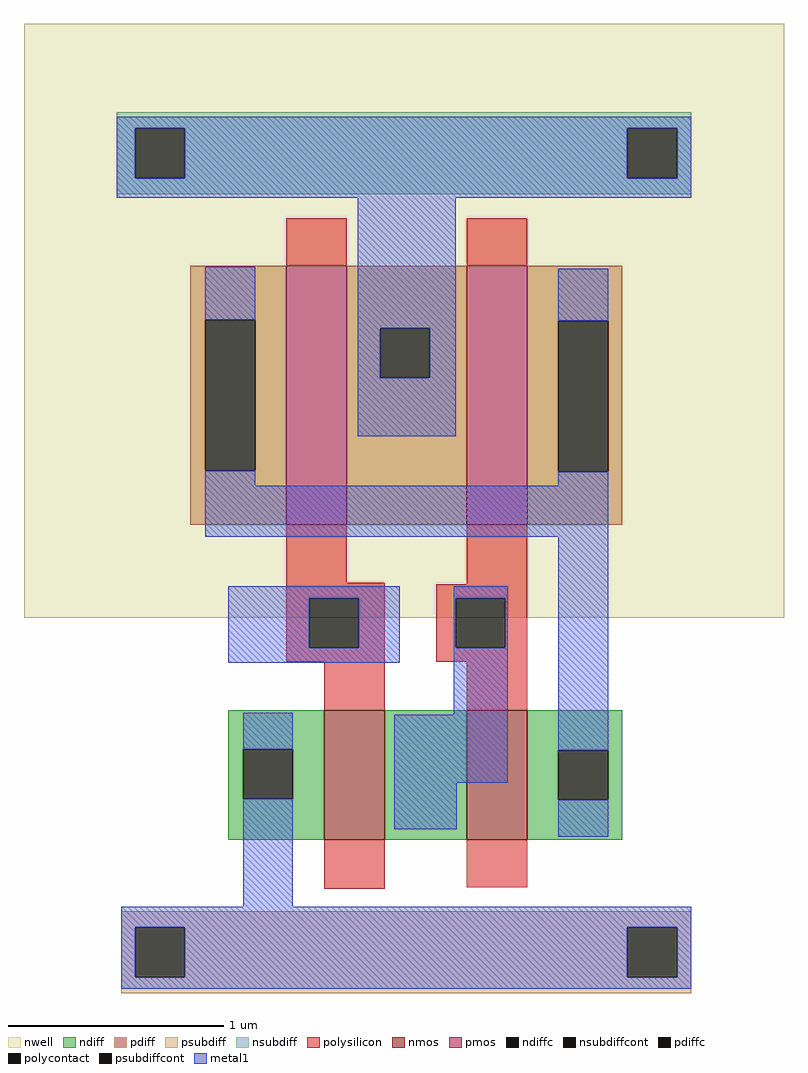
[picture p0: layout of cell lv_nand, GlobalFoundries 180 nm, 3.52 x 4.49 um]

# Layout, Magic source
magic
tech gf180mcuD
magscale 1 10
<< nwell >>
rect 16870 51136 17574 51686
<< nmos >>
rect 17148 50930 17204 51050
rect 17280 50930 17336 51050
<< pmos >>
rect 17113 51222 17169 51462
rect 17280 51222 17336 51462
<< ndiff >>
rect 17059 51014 17148 51050
rect 17059 50968 17073 51014
rect 17119 50968 17148 51014
rect 17059 50930 17148 50968
rect 17204 50930 17280 51050
rect 17336 51013 17424 51050
rect 17336 50967 17365 51013
rect 17411 50967 17424 51013
rect 17336 50930 17424 50967
<< pdiff >>
rect 17024 51412 17113 51462
rect 17024 51272 17038 51412
rect 17084 51272 17113 51412
rect 17024 51222 17113 51272
rect 17169 51404 17280 51462
rect 17169 51358 17200 51404
rect 17246 51358 17280 51404
rect 17169 51222 17280 51358
rect 17336 51411 17424 51462
rect 17336 51271 17365 51411
rect 17411 51271 17424 51411
rect 17336 51222 17424 51271
<< ndiffc >>
rect 17073 50968 17119 51014
rect 17365 50967 17411 51013
<< pdiffc >>
rect 17038 51272 17084 51412
rect 17200 51358 17246 51404
rect 17365 51271 17411 51411
<< psubdiff >>
rect 16960 50849 17488 50864
rect 16960 50803 16973 50849
rect 17019 50803 17429 50849
rect 17475 50803 17488 50849
rect 16960 50788 17488 50803
<< nsubdiff >>
rect 16956 51589 17488 51604
rect 16956 51543 16973 51589
rect 17019 51543 17429 51589
rect 17475 51543 17488 51589
rect 16956 51528 17488 51543
<< psubdiffcont >>
rect 16973 50803 17019 50849
rect 17429 50803 17475 50849
<< nsubdiffcont >>
rect 16973 51543 17019 51589
rect 17429 51543 17475 51589
<< polysilicon >>
rect 17113 51462 17169 51506
rect 17280 51462 17336 51506
rect 17113 51168 17169 51222
rect 17113 51154 17204 51168
rect 17280 51167 17336 51222
rect 17113 51108 17134 51154
rect 17180 51108 17204 51154
rect 17113 51095 17204 51108
rect 17252 51154 17336 51167
rect 17252 51108 17270 51154
rect 17316 51108 17336 51154
rect 17252 51095 17336 51108
rect 17148 51050 17204 51095
rect 17280 51050 17336 51095
rect 17148 50885 17204 50930
rect 17280 50886 17336 50930
<< polycontact >>
rect 17134 51108 17180 51154
rect 17270 51108 17316 51154
<< metal1 >>
rect 16956 51589 17488 51600
rect 16956 51543 16973 51589
rect 17019 51543 17429 51589
rect 17475 51543 17488 51589
rect 16956 51525 17488 51543
rect 17038 51412 17084 51461
rect 17179 51404 17270 51525
rect 17179 51358 17200 51404
rect 17246 51358 17270 51404
rect 17179 51304 17270 51358
rect 17365 51411 17411 51459
rect 17038 51258 17084 51272
rect 17365 51258 17411 51271
rect 17038 51211 17411 51258
rect 17059 51154 17218 51165
rect 17059 51108 17134 51154
rect 17180 51108 17218 51154
rect 17059 51094 17218 51108
rect 17268 51154 17318 51165
rect 17268 51108 17270 51154
rect 17316 51108 17318 51154
rect 17073 51014 17119 51048
rect 17268 51046 17318 51108
rect 17073 50868 17119 50968
rect 17213 50983 17318 51046
rect 17365 51013 17411 51211
rect 17213 50940 17271 50983
rect 17365 50933 17411 50967
rect 16960 50849 17488 50868
rect 16960 50803 16973 50849
rect 17019 50803 17429 50849
rect 17475 50803 17488 50849
rect 16960 50792 17488 50803
<< properties >>
string GDS_END 10537418
string GDS_FILE $PDKPATH/libs.ref/gf180mcu_ocd_io/gds/gf180mcu_ocd_io.gds
string GDS_START 10534534
<< end >>
